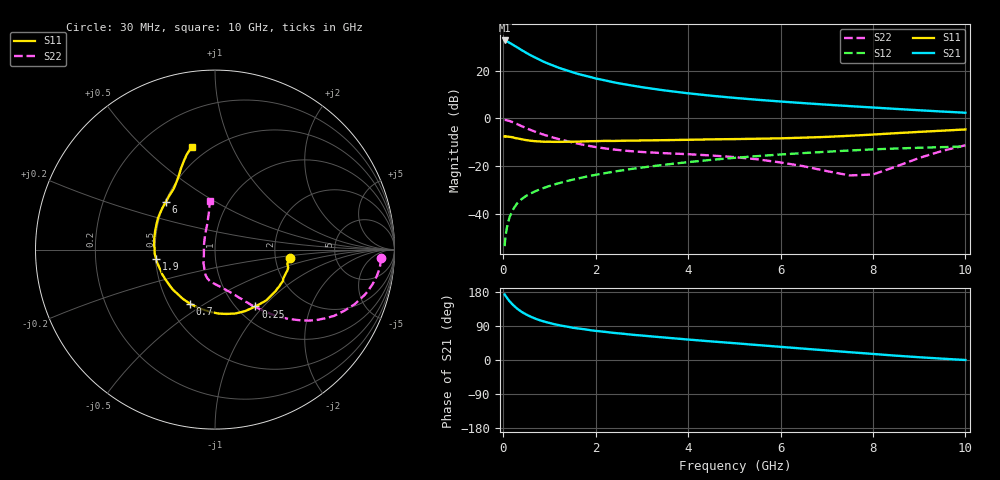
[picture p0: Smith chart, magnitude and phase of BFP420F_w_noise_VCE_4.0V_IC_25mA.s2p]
! Infineon Technologies  Discrete & RF Semiconductors
! BFP420F
! VCE =  4.0 V,  IC =  25 mA
! Common Emitter S-Parameters:  Sep 2011
# GHz  S  MA  R  50
!  f  S11  S21  S12  S22
! GHz  MAG  ANG  MAG  ANG  MAG  ANG  MAG  ANG
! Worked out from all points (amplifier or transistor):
!   54 points, 30 MHz to 10 GHz, reference 50 ohm
!   highest |S21| = 32.7 dB at 30 MHz (marker M1)
!   |S21| within 3 dB of that: start of sweep to 312.1 MHz
!   unconditionally stable (mu >= 1): 1.581 GHz to end of sweep
!   at 120 MHz: K = 0.42, MSG = 37.3 dB, |S12| = -42.6 dB
!   at 1.3 GHz: K = 0.93, MSG = 23.6 dB, |S12| = -26.7 dB
!   at 10 GHz: K = 1.23, MAG = 4.2 dB, |S12| = -11.8 dB
!   lowest NFmin = 1.66 dB at 450 MHz
!   S11 on the Smith chart (normalised r, x): 30 MHz: 2.41, -0.27; 250 MHz: 1.21, -0.90; 700 MHz: 0.64, -0.44; 1.9 GHz: 0.50, -0.06; 6 GHz: 0.50, +0.31; 10 GHz: 0.41, +0.71
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0.03  0.42 -6.4  42.91 173.0  0.0021 67.6  0.9248 -2.9
0.05  0.4099 -10.8  41.99 169.1  0.0034 73.5  0.9245 -5.5
0.07  0.4199 -16.2  41.56 166.0  0.0045 73.3  0.9178 -8.0
0.12  0.4132 -27.7  39.32 157.5  0.0074 73.5  0.8911 -13.6
0.2  0.4021 -44.7  35.32 146.9  0.0117 72.2  0.8353 -21.4
0.25  0.3889 -54.6  32.92 141.0  0.014 71.2  0.7959 -25.4
0.35  0.3738 -72.2  28.81 131.2  0.0185 68.0  0.7213 -32.1
0.45  0.3571 -86.6  25.23 123.3  0.0221 66.2  0.6544 -37.2
0.6  0.3391 -105.0  20.8 114.0  0.0269 64.5  0.5674 -43.0
0.7  0.3322 -114.6  18.6 108.9  0.0299 64.0  0.5225 -46.0
0.9  0.3233 -130.0  15.03 101.0  0.0355 63.7  0.4476 -50.7
1.1  0.322 -141.8  12.57 94.7  0.041 63.6  0.391 -54.8
1.5  0.3243 -159.1  9.279 85.2  0.0519 63.3  0.313 -61.7
1.7  0.3279 -164.8  8.146 82.0  0.0573 63.1  0.2835 -65.2
1.9  0.3326 -170.7  7.299 78.3  0.0629 62.7  0.2606 -68.7
2.6  0.3405 175.9  5.23 69.2  0.0821 60.7  0.2117 -80.9
3.5  0.3496 162.4  3.842 59.2  0.1071 56.8  0.1862 -93.6
5.5  0.3742 141.4  2.454 39.5  0.162 45.4  0.1387 -114.4
6  0.3817 135.8  2.256 34.7  0.1751 42.3  0.1192 -120.1
7  0.4096 124.2  1.937 25.2  0.1999 35.8  0.0786 -142.6
8.5  0.4897 112.8  1.579 11.4  0.2338 25.3  0.0979 124.5
10  0.586 102.8  1.312 -0.0  0.2576 15.9  0.2732 96.0
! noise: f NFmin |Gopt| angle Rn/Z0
0.45  1.66  0.23  -177  0.1
0.9  1.68  0.25  -175  0.13
1.9  1.81  0.32  -166  0.14
2.4  1.87  0.32  -160  0.12
3.5  2.1  0.32  -151  0.17
